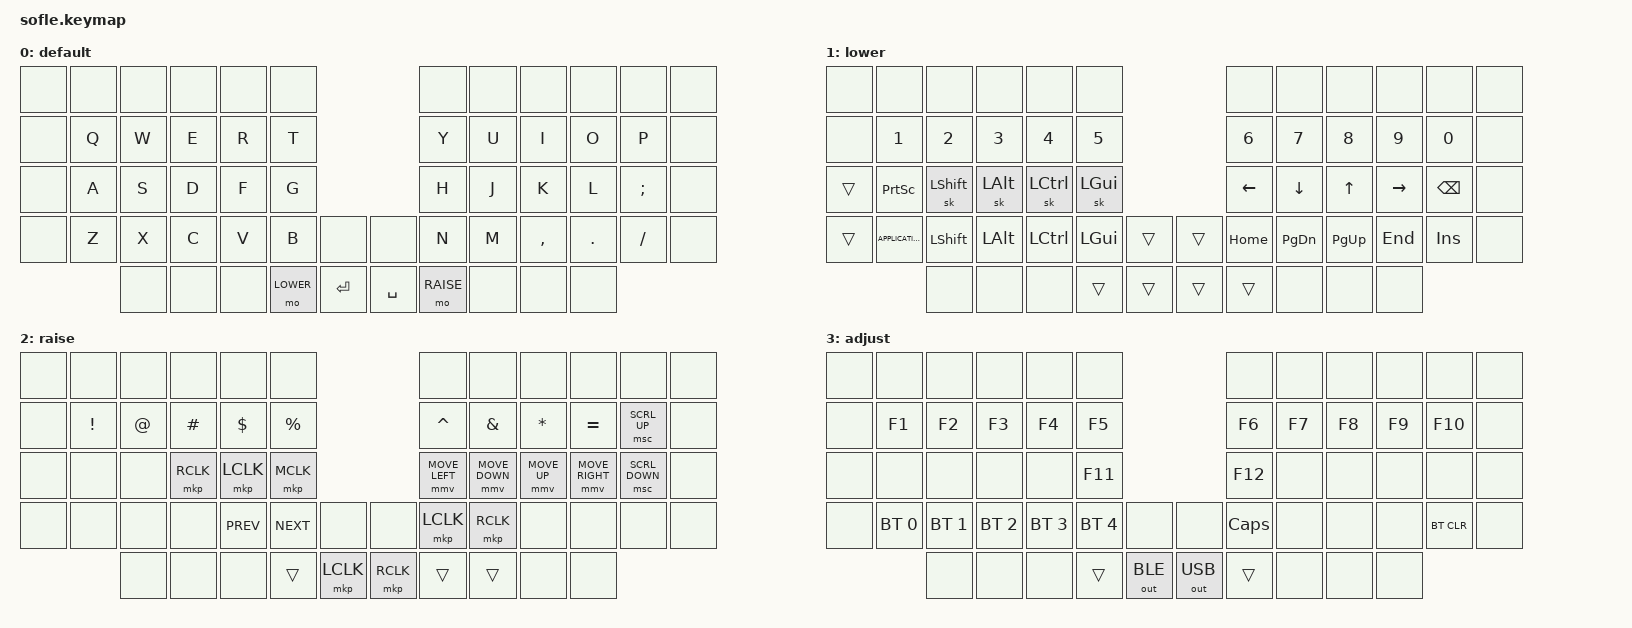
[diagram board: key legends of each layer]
/*
 * Copyright (c) 2020 The ZMK Contributors
 *
 * SPDX-License-Identifier: MIT
 */

#include <dt-bindings/zmk/mouse.h>
#include <behaviors/mouse_keys.dtsi>
#include <behaviors.dtsi>
#include <dt-bindings/zmk/bt.h>
#include <dt-bindings/zmk/keys.h>
#include <dt-bindings/zmk/outputs.h>
#include <dt-bindings/zmk/pointing.h>

#define BASE 0
#define LOWER 1
#define RAISE 2
#define ADJUST 3

#define ZMK_POINTING_DEFAULT_MOVE_VAL 1200  // 600
#define ZMK_POINTING_DEFAULT_SCRL_VAL 900   // mousescroll SPEED

&mmv_input_listener { input-processors = <&zip_xy_scaler 2 1>; };

&msc_input_listener { input-processors = <&zip_scroll_scaler 2 1>; };

&msc {
    acceleration-exponent = <1>;      // 0
    time-to-max-speed-ms = <100>;       // 300
    delay-ms = <0>;                   // 0
};

&mmv {
    time-to-max-speed-ms = <500>;
    acceleration-exponent = <1>;
    trigger-period-ms = <16>;
};

/ {
    // Activate ADJUST layer by pressing raise and lower

    conditional_layers {
        compatible = "zmk,conditional-layers";

        adjust_layer {
            if-layers = <LOWER RAISE>;
            then-layer = <ADJUST>;
        };
    };

    combos {
        compatible = "zmk,combos";

        esc {
            bindings = <&kp ESCAPE>;
            key-positions = <13 14>;
            layers = <0>;
            timeout-ms = <30>;
            require-prior-idle-ms = <180>;
        };

        enter {
            bindings = <&kp ENTER>;
            key-positions = <28 29>;
            timeout-ms = <30>;
            require-prior-idle-ms = <180>;
            layers = <0>;
        };

        backspace {
            bindings = <&kp BACKSPACE>;
            key-positions = <26 27>;
            timeout-ms = <30>;
            require-prior-idle-ms = <180>;
            layers = <0>;
        };

        delete {
            bindings = <&kp DELETE>;
            key-positions = <27 28>;
            timeout-ms = <30>;
            require-prior-idle-ms = <180>;
            layers = <0>;
        };

        lctrl {
            bindings = <&kp LCTRL>;
            key-positions = <40 41>;
            timeout-ms = <30>;
            require-prior-idle-ms = <180>;
            layers = <0>;
        };

        lalt {
            bindings = <&kp LEFT_ALT>;
            key-positions = <41 28>;
            timeout-ms = <30>;
            require-prior-idle-ms = <180>;
            layers = <0>;
        };

        lgui {
            bindings = <&kp LEFT_GUI>;
            key-positions = <29 41>;
            timeout-ms = <30>;
            require-prior-idle-ms = <180>;
            layers = <0>;
        };

        ctrl-shift {
            bindings = <&kp LC(LEFT_SHIFT)>;
            key-positions = <40 41 54>;
            timeout-ms = <30>;
            require-prior-idle-ms = <180>;
            layers = <0>;
        };

        alt-shift {
            bindings = <&kp LA(LEFT_SHIFT)>;
            key-positions = <28 41 54>;
            timeout-ms = <30>;
            require-prior-idle-ms = <180>;
            layers = <0>;
        };

        gui-shift {
            bindings = <&kp LG(LSHIFT)>;
            key-positions = <29 41 54>;
            timeout-ms = <30>;
            require-prior-idle-ms = <180>;
            layers = <0>;
        };

        copy {
            bindings = <&kp LC(C)>;
            key-positions = <38 39>;
            timeout-ms = <35>;
            require-prior-idle-ms = <150>;
            layers = <0>;
        };

        paste {
            bindings = <&kp LC(V)>;
            key-positions = <39 40>;
            timeout-ms = <35>;
            require-prior-idle-ms = <150>;
            layers = <0>;
        };

        cut {
            bindings = <&kp LC(X)>;
            key-positions = <40 38>;
            timeout-ms = <35>;
            require-prior-idle-ms = <150>;
            layers = <0>;
        };

        sellect-all {
            bindings = <&kp LC(A)>;
            key-positions = <37 38>;
            timeout-ms = <35>;
            require-prior-idle-ms = <150>;
            layers = <0>;
        };

        undo {
            bindings = <&kp LC(Z)>;
            key-positions = <14 15>;
            timeout-ms = <35>;
            require-prior-idle-ms = <150>;
            layers = <0>;
        };

        redo {
            bindings = <&kp Y>;
            key-positions = <15 16>;
            timeout-ms = <35>;
            require-prior-idle-ms = <150>;
            layers = <0>;
        };

        equal {
            bindings = <&kp EQUAL>;
            key-positions = <18 19>;
            timeout-ms = <35>;
            require-prior-idle-ms = <150>;
            layers = <0>;
        };

        less-than {
            bindings = <&kp LESS_THAN>;
            key-positions = <31 30>;
            timeout-ms = <35>;
            require-prior-idle-ms = <150>;
            layers = <0>;
        };

        greater-than {
            bindings = <&kp GREATER_THAN>;
            key-positions = <45 44>;
            timeout-ms = <35>;
            require-prior-idle-ms = <150>;
            layers = <0>;
        };

        lpar {
            bindings = <&kp LEFT_PARENTHESIS>;
            key-positions = <19 20>;
            timeout-ms = <35>;
            require-prior-idle-ms = <150>;
            layers = <0>;
        };

        lbrc {
            bindings = <&kp LEFT_BRACE>;
            key-positions = <31 32>;
            timeout-ms = <35>;
            require-prior-idle-ms = <150>;
            layers = <0>;
        };

        lbkt {
            bindings = <&kp LEFT_BRACKET>;
            key-positions = <45 46>;
            timeout-ms = <35>;
            require-prior-idle-ms = <150>;
            layers = <0>;
        };

        rpar {
            bindings = <&kp RIGHT_PARENTHESIS>;
            key-positions = <20 21>;
            timeout-ms = <35>;
            require-prior-idle-ms = <150>;
            layers = <0>;
        };

        rbrc {
            bindings = <&kp RIGHT_BRACE>;
            key-positions = <33 32>;
            timeout-ms = <35>;
            require-prior-idle-ms = <150>;
            layers = <0>;
        };

        rbkt {
            bindings = <&kp RIGHT_BRACKET>;
            key-positions = <46 47>;
            timeout-ms = <35>;
            require-prior-idle-ms = <150>;
            layers = <0>;
        };

        colon {
            bindings = <&kp COLON>;
            key-positions = <33 34>;
            timeout-ms = <35>;
            require-prior-idle-ms = <150>;
            layers = <0>;
        };

        double-quotes {
            bindings = <&kp DOUBLE_QUOTES>;
            key-positions = <21 22>;
            timeout-ms = <35>;
            require-prior-idle-ms = <150>;
            layers = <0>;
        };

        quote {
            bindings = <&kp SINGLE_QUOTE>;
            key-positions = <47 48>;
            timeout-ms = <35>;
            require-prior-idle-ms = <150>;
            layers = <0>;
        };

        plus {
            bindings = <&kp PLUS>;
            key-positions = <32 21>;
            timeout-ms = <35>;
            require-prior-idle-ms = <150>;
            layers = <0>;
        };

        minus {
            bindings = <&kp MINUS>;
            key-positions = <31 21>;
            timeout-ms = <35>;
            require-prior-idle-ms = <150>;
            layers = <0>;
        };

        under-scrore {
            bindings = <&kp UNDERSCORE>;
            key-positions = <31 22>;
            timeout-ms = <35>;
            require-prior-idle-ms = <150>;
            layers = <0>;
        };

        grave {
            bindings = <&kp GRAVE>;
            key-positions = <31 33>;
            timeout-ms = <35>;
            require-prior-idle-ms = <150>;
            layers = <0>;
        };

        qmark {
            bindings = <&kp QUESTION>;
            key-positions = <31 47>;
            timeout-ms = <35>;
            require-prior-idle-ms = <150>;
            layers = <0>;
        };

        pipe {
            bindings = <&kp PIPE>;
            key-positions = <31 34>;
            timeout-ms = <35>;
            require-prior-idle-ms = <150>;
            layers = <0>;
        };

        tilde {
            bindings = <&kp TILDE>;
            key-positions = <31 48>;
            timeout-ms = <35>;
            require-prior-idle-ms = <150>;
            layers = <0>;
        };

        backslash {
            bindings = <&kp BACKSLASH>;
            key-positions = <31 55>;
            timeout-ms = <35>;
            require-prior-idle-ms = <150>;
            layers = <0>;
        };

        scroll-up {
            bindings = <&msc SCRL_UP>;
            key-positions = <19 20 21>;
            timeout-ms = <35>;
            require-prior-idle-ms = <150>;
            layers = <0 2>;
        };

        scroll-down {
            bindings = <&msc SCRL_DOWN>;
            key-positions = <45 46 47>;
            timeout-ms = <35>;
            require-prior-idle-ms = <150>;
            layers = <0 2>;
        };
    };

    keymap {
        compatible = "zmk,keymap";

        default_layer {
            label = "default";

            // ------------------------------------------------------------------------------------------------------------
            // |   `   |  1  |  2  |  3   |  4   |  5   |                   |  6   |  7    |  8    |  9   |   0   |       |
            // |  ESC  |  Q  |  W  |  E   |  R   |  T   |                   |  Y   |  U    |  I    |  O   |   P   | BKSPC |
            // |  TAB  |  A  |  S  |  D   |  F   |  G   |                   |  H   |  J    |  K    |  L   |   ;   |   '   |
            // | SHIFT |  Z  |  X  |  C   |  V   |  B   |  MUTE  |  |       |  N   |  M    |  ,    |  .   |   /   | SHIFT |
            //               | GUI | ALT  | CTRL | LOWER|  ENTER |  | SPACE | RAISE| CTRL  | ALT   | GUI  |

            bindings = <
&none  &none  &none  &none  &none  &none                            &none      &none  &none      &none    &none     &none
&none  &kp Q  &kp W  &kp E  &kp R  &kp T                            &kp Y      &kp U  &kp I      &kp O    &kp P     &none
&none  &kp A  &kp S  &kp D  &kp F  &kp G                            &kp H      &kp J  &kp K      &kp L    &kp SEMI  &none
&none  &kp Z  &kp X  &kp C  &kp V  &kp B      &none      &none      &kp N      &kp M  &kp COMMA  &kp DOT  &kp FSLH  &none
              &none  &none  &none  &mo LOWER  &kp RET    &kp SPACE  &mo RAISE  &none  &none      &none
            >;
        };

        lower_layer {
            label = "lower";

            // TODO: Some binds are waiting for shifted keycode support.
            // ------------------------------------------------------------------------------------------------------------
            // |       |  F1 |  F2 |  F3  |  F4  |  F5  |                   |  F6  |  F7   |  F8   |  F9  |  F10  |  F11  |
            // |   `   |  1  |  2  |  3   |  4   |  5   |                   |  6   |  7    |  8    |  9   |   0   |  F12  |
            // |       |  !  |  @  |  #   |  $   |  %   |                   |  ^   |  &    |  *    |  (   |   )   |   |   |
            // |       |  =  |  -  |  +   |  {   |  }   |        |  |       |  [   |  ]    |  ;    |  :   |   \   |       |
            //               |     |      |      |      |        |  |       |      |       |       |      |

            bindings = <
&none   &none              &none           &none         &none             &none                           &none           &none           &none         &none      &none          &none
&none   &kp N1             &kp N2          &kp N3        &kp N4            &kp N5                          &kp N6          &kp N7          &kp N8        &kp N9     &kp N0         &none
&trans  &kp PRINTSCREEN    &sk LEFT_SHIFT  &sk LEFT_ALT  &sk LEFT_CONTROL  &sk LEFT_GUI                    &kp LEFT_ARROW  &kp DOWN_ARROW  &kp UP_ARROW  &kp RIGHT  &kp BACKSPACE  &none
&trans  &kp K_APPLICATION  &kp LEFT_SHIFT  &kp LEFT_ALT  &kp LEFT_CONTROL  &kp LEFT_GUI  &trans    &trans  &kp HOME        &kp PAGE_DOWN   &kp PAGE_UP   &kp END    &kp INSERT     &none
                           &none           &none         &none             &trans        &trans    &trans  &trans          &none           &none         &none
            >;
        };

        raise_layer {
            label = "raise";

            // ------------------------------------------------------------------------------------------------------------
            // | BTCLR | BT1  | BT2  |  BT3  |  BT4  |  BT5 |                |      |      |       |      |       |       |
            // |       | INS  | PSCR | GUI   |       |      |                | PGUP |      |   ^   |      |       |       |
            // |       | ALT  | CTRL | SHIFT |       | CAPS |                | PGDN |   <- |   v   |  ->  |  DEL  | BKSPC |
            // |       | UNDO | CUT  | COPY  | PASTE |      |      |  |      |      |      |       |      |       |       |
            //                |      |       |       |      |      |  |      |      |      |       |      |

            bindings = <
&none  &none            &none        &none      &none       &none                                &none           &none           &none         &none            &none           &none
&none  &kp EXCLAMATION  &kp AT_SIGN  &kp HASH   &kp DOLLAR  &kp PERCENT                          &kp CARET       &kp AMPERSAND   &kp ASTERISK  &kp EQUAL        &msc SCRL_UP    &none
&none  &none            &none        &mkp RCLK  &mkp LCLK   &mkp MCLK                            &mmv MOVE_LEFT  &mmv MOVE_DOWN  &mmv MOVE_UP  &mmv MOVE_RIGHT  &msc SCRL_DOWN  &none
&none  &none            &none        &none      &kp K_PREV  &kp K_NEXT   &none        &none      &mkp LCLK       &mkp RCLK       &none         &none            &none           &none
                        &none        &none      &none       &trans       &mkp LCLK    &mkp RCLK  &trans          &trans          &none         &none
            >;
        };

        adjust_layer {
            // ----------------------------------------------------------------------------------------------------------------------------
            // | BTCLR  |  BT1    |  BT2    |   BT3   |   BT4   |   BT5   |                  |      |      |       |      |       |       |
            // | EXTPWR | RGB_HUD | RGB_HUI | RGB_SAD | RGB_SAI | RGB_EFF |                  |      |      |       |      |       |       |
            // |        | RGB_BRD | RGB_BRI |         |         |         |                  |      |      |       |      |       |       |
            // |        |         |         |         |         |         | RGB_TOG | |      |      |      |       |      |       |       |
            //                    |         |         |         |         |         | |      |      |      |       |      |

            label = "adjust";
            bindings = <
&none  &none         &none         &none         &none         &none                                       &none         &none   &none   &none   &none       &none
&none  &kp F1        &kp F2        &kp F3        &kp F4        &kp F5                                      &kp F6        &kp F7  &kp F8  &kp F9  &kp F10     &none
&none  &none         &none         &none         &none         &kp F11                                     &kp F12       &none   &none   &none   &none       &none
&none  &bt BT_SEL 0  &bt BT_SEL 1  &bt BT_SEL 2  &bt BT_SEL 3  &bt BT_SEL 4  &none           &none         &kp CAPSLOCK  &none   &none   &none   &bt BT_CLR  &none
                     &none         &none         &none         &trans        &out OUT_BLE    &out OUT_USB  &trans        &none   &none   &none
            >;
        };
    };
};
